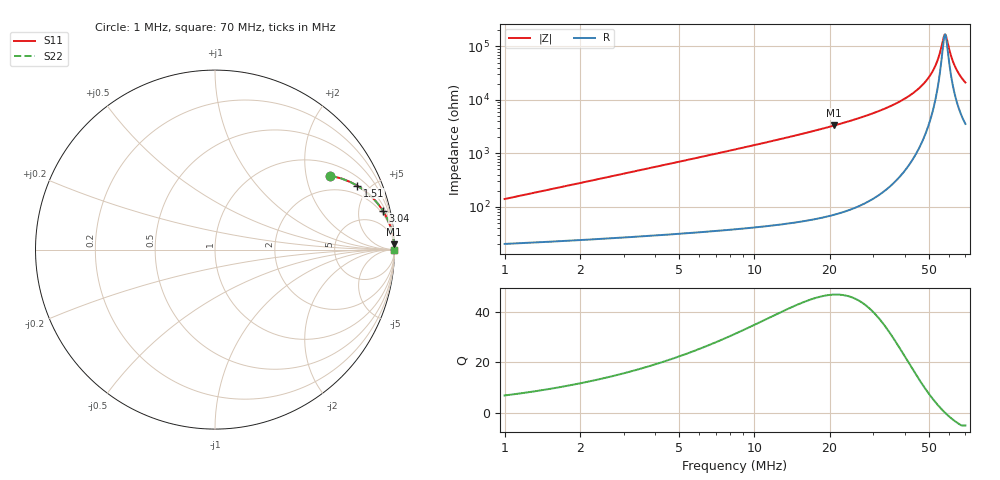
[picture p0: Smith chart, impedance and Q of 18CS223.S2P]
! Coilcraft 1812CS-223 Chip Inductor
! 31 July 2002
# MHZ S MA R 50
!Freq  MagS11  AngS11  MagS21  AngS21  MagS12  AngS12  MagS22  AngS22
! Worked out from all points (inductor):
!   407 points, 1 MHz to 70 MHz, reference 50 ohm
!   read as one part in series: L = 22 uH near 1.34 MHz
!   highest Q = 46.7 at 20.89 MHz (marker M1), where L = 25.3 uH
!   self-resonance near 57.95 MHz
!   S11 on the Smith chart (normalised r, x): 1 MHz: 1.40, +2.77; 1.51 MHz: 1.44, +4.18; 3.04 MHz: 1.54, +8.43; 70 MHz: open
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1  0.7627 32.7  0.5458 -49.0  0.5458 -49.0  0.7627 32.7
1.51  0.868 24.3  0.4132 -59.7  0.4132 -59.7  0.868 24.3
2.19  0.9281 17.7  0.3052 -67.7  0.3052 -67.7  0.9281 17.7
3.04  0.9595 13.1  0.2273 -73.3  0.2273 -73.3  0.9595 13.1
4.74  0.982 8.5  0.1487 -78.8  0.1487 -78.8  0.982 8.5
6.78  0.9907 6.0  0.1042 -81.9  0.1042 -81.9  0.9907 6.0
12.56  0.9971 3.1  0.05473 -85.4  0.05473 -85.4  0.9971 3.1
20.89  0.9989 1.7  0.03011 -87.0  0.03011 -87.0  0.9989 1.7
24.12  0.9992 1.4  0.02479 -87.3  0.02479 -87.3  0.9992 1.4
35.51  0.9995 0.7  0.01274 -87.4  0.01274 -87.4  0.9995 0.7
42.14  0.9995 0.5  0.008125 -86.5  0.008125 -86.5  0.9995 0.5
47.07  0.9995 0.3  0.005282 -84.6  0.005282 -84.6  0.9995 0.3
50.13  0.9995 0.2  0.003702 -82.1  0.003702 -82.1  0.9995 0.2
52.51  0.9995 0.1  0.00256 -78.0  0.00256 -78.0  0.9995 0.1
54.89  0.9994 0.1  0.001505 -68.3  0.001505 -68.3  0.9994 0.1
57.44  0.9994 0.0  0.0006468 -24.6  0.0006468 -24.6  0.9994 0.0
57.95  0.9994 0.0  0.0005972 -4.8  0.0005972 -4.8  0.9994 0.0
58.63  0.9994 -0.0  0.0006509 21.6  0.0006509 21.6  0.9994 -0.0
61.01  0.9994 -0.1  0.001387 62.4  0.001387 62.4  0.9994 -0.1
63.22  0.9993 -0.1  0.002221 72.1  0.002221 72.1  0.9993 -0.1
66.28  0.9993 -0.2  0.003376 77.3  0.003376 77.3  0.9993 -0.2
70  0.9992 -0.3  0.004736 80.0  0.004736 80.0  0.9992 -0.3
